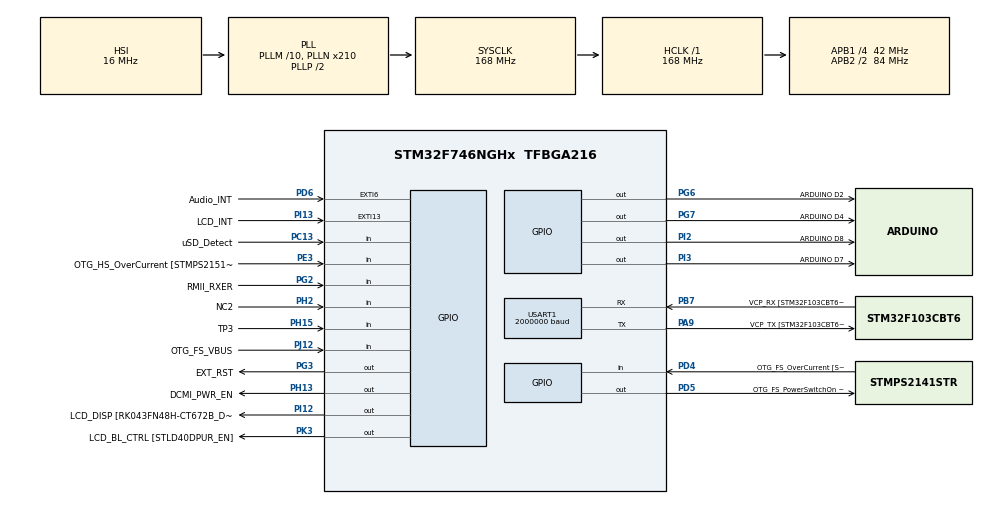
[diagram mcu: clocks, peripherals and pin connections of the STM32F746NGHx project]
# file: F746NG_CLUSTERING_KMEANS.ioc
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Mcu.Family=STM32F7
Mcu.Name=STM32F746NGHx
Mcu.Package=TFBGA216
NVIC.PriorityGroup=NVIC_PRIORITYGROUP_4
PA0/WKUP.GPIO_Label=ARDUINO A0
PA0/WKUP.GPIO_Mode=GPIO_MODE_ANALOG
PA0/WKUP.GPIO_PuPd=GPIO_NOPULL
PA0/WKUP.Signal=ADCx_IN0
PA1.GPIO_Label=RMII_REF_CLK [LAN8742A-CZ-TR_REFCLK0]
PA1.Signal=ETH_REF_CLK
PA10.GPIO_Label=OTG_FS_ID
PA10.Signal=USB_OTG_FS_ID
PA11.GPIO_Label=OTG_FS_N
PA11.Signal=USB_OTG_FS_DM
PA12.GPIO_Label=OTG_FS_P
PA12.Signal=USB_OTG_FS_DP
PA13.GPIO_Label=SWDIO
PA13.Signal=SYS_JTMS-SWDIO
PA14.GPIO_Label=SWCLK
PA14.Signal=SYS_JTCK-SWCLK
PA15.GPIO_Label=ARDUINO PWM/D9
PA15.GPIO_ModeDefaultPP=GPIO_MODE_AF_PP
PA15.GPIO_PuPd=GPIO_NOPULL
PA15.GPIO_Speed=GPIO_SPEED_FREQ_LOW
PA15.Signal=S_TIM2_CH1_ETR
PA2.GPIO_Label=RMII_MDIO [LAN8742A-CZ-TR_MDIO]
PA2.Signal=ETH_MDIO
PA3.GPIO_Label=ULPI_D0 [USB3320C-EZK_D0]
PA3.Signal=USB_OTG_HS_ULPI_D0
PA4.GPIO_Label=DCMI_HSYNC
PA4.Signal=DCMI_HSYNC
PA5.GPIO_Label=ULPI_CLK [USB3320C-EZK_CLKOUT]
PA5.Signal=USB_OTG_HS_ULPI_CK
PA6.Signal=DCMI_PIXCLK
PA7.GPIO_Label=RMII_CRS_DV [LAN8742A-CZ-TR_CRS_DV]
PA7.Signal=ETH_CRS_DV
PA8.GPIO_Label=ARDUINO PWM/D10
PA8.GPIO_ModeDefaultPP=GPIO_MODE_AF_PP
PA8.GPIO_PuPd=GPIO_NOPULL
PA8.GPIO_Speed=GPIO_SPEED_FREQ_LOW
PA8.Signal=S_TIM1_CH1
PA9.GPIO_Label=VCP_TX [STM32F103CBT6_PA3]
PA9.GPIO_Mode=GPIO_MODE_AF_PP
PA9.GPIO_PuPd=GPIO_NOPULL
PA9.GPIO_Speed=GPIO_SPEED_FREQ_LOW
PA9.Mode=Asynchronous
PA9.Signal=USART1_TX
PB0.GPIO_Label=ULPI_D1 [USB3320C-EZK_D1]
PB0.Signal=USB_OTG_HS_ULPI_D1
PB1.GPIO_Label=ULPI_D2 [USB3320C-EZK_D2]
PB1.Signal=USB_OTG_HS_ULPI_D2
PB10.GPIO_Label=ULPI_D3 [USB3320C-EZK_D3]
PB10.Signal=USB_OTG_HS_ULPI_D3
PB11.GPIO_Label=ULPI_D4 [USB3320C-EZK_D4]
PB11.Signal=USB_OTG_HS_ULPI_D4
PB12.GPIO_Label=ULPI_D5 [USB3320C-EZK_D5]
PB12.Signal=USB_OTG_HS_ULPI_D5
PB13.GPIO_Label=ULPI_D6 [USB3320C-EZK_D6]
PB13.Signal=USB_OTG_HS_ULPI_D6
PB14.GPIO_Label=ARDUINO MISO/D12
PB14.GPIO_Mode=GPIO_MODE_AF_PP
PB14.GPIO_PuPd=GPIO_NOPULL
PB14.GPIO_Speed=GPIO_SPEED_FREQ_LOW
PB14.Signal=SPI2_MISO
PB15.GPIO_Label=ARDUINO MOSI/PWM/D11
PB15.GPIO_Mode=GPIO_MODE_AF_PP
PB15.GPIO_PuPd=GPIO_NOPULL
PB15.GPIO_Speed=GPIO_SPEED_FREQ_LOW
PB15.Signal=SPI2_MOSI
PB2.Signal=QUADSPI_CLK
PB3.GPIO_Label=SWO
PB3.Signal=SYS_JTDO-SWO
PB4.GPIO_Label=ARDUINO PWM/D3
PB4.GPIO_ModeDefaultPP=GPIO_MODE_AF_PP
PB4.GPIO_PuPd=GPIO_NOPULL
PB4.GPIO_Speed=GPIO_SPEED_FREQ_LOW
PB4.Signal=S_TIM3_CH1
PB5.GPIO_Label=ULPI_D7 [USB3320C-EZK_D7]
PB5.Signal=USB_OTG_HS_ULPI_D7
PB6.GPIO_Label=QSPI_NCS [N25Q128A13EF840E_S]
PB6.Signal=QUADSPI_BK1_NCS
PB7.GPIO_Label=VCP_RX [STM32F103CBT6_PA2]
PB7.GPIO_Mode=GPIO_MODE_AF_PP
PB7.GPIO_PuPd=GPIO_NOPULL
PB7.GPIO_Speed=GPIO_SPEED_FREQ_LOW
PB7.Mode=Asynchronous
PB7.Signal=USART1_RX
PB8.GPIO_Label=ARDUINO SCL/D15
PB8.GPIO_Mode=GPIO_MODE_AF_OD
PB8.GPIO_PuPd=GPIO_NOPULL
PB8.GPIO_Speed=GPIO_SPEED_FREQ_LOW
PB8.Signal=I2C1_SCL
PB9.GPIO_Label=ARDUINO SDA/D14
PB9.GPIO_Mode=GPIO_MODE_AF_OD
PB9.GPIO_PuPd=GPIO_NOPULL
PB9.GPIO_Speed=GPIO_SPEED_FREQ_LOW
PB9.Signal=I2C1_SDA
PC0.GPIO_Label=ULPI_STP [USB3320C-EZK_STP]
PC0.Signal=USB_OTG_HS_ULPI_STP
PC1.GPIO_Label=RMII_MDC [LAN8742A-CZ-TR_MDC]
PC1.Signal=ETH_MDC
PC10.GPIO_Label=SDMMC_D2
PC10.Signal=SDMMC1_D2
PC11.GPIO_Label=SDMMC_D3
PC11.Signal=SDMMC1_D3
PC12.GPIO_Label=SDMMC_CK
PC12.Signal=SDMMC1_CK
PC13.GPIO_Label=uSD_Detect
PC13.Signal=GPIO_Input
PC14/OSC32_IN.GPIO_Label=RCC_OSC32_IN
PC14/OSC32_IN.Signal=RCC_OSC32_IN
PC15/OSC32_OUT.GPIO_Label=RCC_OSC32_OUT
PC15/OSC32_OUT.Signal=RCC_OSC32_OUT
PC2.GPIO_Label=ULPI_DIR [USB3320C-EZK_DIR]
PC2.Signal=USB_OTG_HS_ULPI_DIR
PC3.GPIO_Label=FMC_SDCKE0 [MT48LC4M32B2B5-6A_CKE]
PC3.Signal=FMC_SDCKE0
PC4.GPIO_Label=RMII_RXD0 [LAN8742A-CZ-TR_RXD0]
PC4.Signal=ETH_RXD0
PC5.GPIO_Label=RMII_RXD1 [LAN8742A-CZ-TR_RXD1]
PC5.Signal=ETH_RXD1
PC6.GPIO_Label=ARDUINO TX/D1
PC6.Signal=USART6_TX
PC7.GPIO_Label=ARDUINO RX/D0
PC7.Signal=USART6_RX
PC8.Signal=SDMMC1_D0
PC9.Signal=SDMMC1_D1
PD0.GPIO_Label=FMC_D2 [MT48LC4M32B2B5-6A_DQ2]
PD0.Signal=FMC_D2_DA2
PD1.GPIO_Label=FMC_D3 [MT48LC4M32B2B5-6A_DQ3]
PD1.Signal=FMC_D3_DA3
PD10.GPIO_Label=FMC_D15 [MT48LC4M32B2B5-6A_DQ15]
PD10.Signal=FMC_D15_DA15
PD11.GPIO_Label=QSPI_D0 [N25Q128A13EF840E_DQ0]
PD11.Signal=QUADSPI_BK1_IO0
PD12.GPIO_Label=QSPI_D1 [N25Q128A13EF840E_DQ1]
PD12.Signal=QUADSPI_BK1_IO1
PD13.GPIO_Label=QSPI_D3 [N25Q128A13EF840E_DQ3]
PD13.Signal=QUADSPI_BK1_IO3
PD14.GPIO_Label=FMC_D0 [MT48LC4M32B2B5-6A_DQ0]
PD14.Signal=FMC_D0_DA0
PD15.GPIO_Label=FMC_D1 [MT48LC4M32B2B5-6A_DQ1]
PD15.Signal=FMC_D1_DA1
PD2.GPIO_Label=SDMMC_D0
PD2.Signal=SDMMC1_CMD
PD3.GPIO_Label=DCMI_D5
PD3.Signal=DCMI_D5
PD4.GPIO_Label=OTG_FS_OverCurrent [STMPS2141STR_Fault]
PD4.Signal=GPIO_Input
PD5.GPIO_Label=OTG_FS_PowerSwitchOn [STMPS2141STR_EN]
PD5.PinState=GPIO_PIN_SET
PD5.Signal=GPIO_Output
PD6.GPIO_Label=Audio_INT
PD6.GPIO_ModeDefaultEXTI=GPIO_MODE_EVT_RISING
PD6.Signal=GPXTI6
PD7.GPIO_Label=SPDIF_RX0 [74LVC1G04SE_4]
PD7.Signal=SPDIFRX_IN0
PD8.GPIO_Label=FMC_D13 [MT48LC4M32B2B5-6A_DQ13]
PD8.Signal=FMC_D13_DA13
PD9.GPIO_Label=FMC_D14 [MT48LC4M32B2B5-6A_DQ14]
PD9.Signal=FMC_D14_DA14
PE0.GPIO_Label=FMC_NBL0 [MT48LC4M32B2B5-6A_DQM0]
PE0.Signal=FMC_NBL0
PE1.GPIO_Label=FMC_NBL1 [MT48LC4M32B2B5-6A_DQM1]
PE1.Signal=FMC_NBL1
PE10.GPIO_Label=FMC_D7 [MT48LC4M32B2B5-6A_DQ7]
PE10.Signal=FMC_D7_DA7
PE11.GPIO_Label=FMC_D8 [MT48LC4M32B2B5-6A_DQ8]
PE11.Signal=FMC_D8_DA8
PE12.GPIO_Label=FMC_D9 [MT48LC4M32B2B5-6A_DQ9]
PE12.Signal=FMC_D9_DA9
PE13.GPIO_Label=FMC_D10 [MT48LC4M32B2B5-6A_DQ10]
PE13.Signal=FMC_D10_DA10
PE14.GPIO_Label=FMC_D11 [MT48LC4M32B2B5-6A_DQ11]
PE14.Signal=FMC_D11_DA11
PE15.GPIO_Label=FMC_D12 [MT48LC4M32B2B5-6A_DQ12]
PE15.Signal=FMC_D12_DA12
PE2.GPIO_Label=QSPI_D2 [N25Q128A13EF840E_DQ2]
PE2.Signal=QUADSPI_BK1_IO2
PE3.GPIO_Label=OTG_HS_OverCurrent [STMPS2151STR_FAULT]
PE3.Signal=GPIO_Input
PE4.GPIO_Label=LCD_B0 [RK043FN48H-CT672B_B0]
PE4.Signal=LTDC_B0
PE5.GPIO_Label=DCMI_D6
PE5.Signal=DCMI_D6
PE6.GPIO_Label=DCMI_D7
PE6.Signal=DCMI_D7
PE7.GPIO_Label=FMC_D4 [MT48LC4M32B2B5-6A_DQ4]
PE7.Signal=FMC_D4_DA4
PE8.GPIO_Label=FMC_D5 [MT48LC4M32B2B5-6A_DQ5]
PE8.Signal=FMC_D5_DA5
PE9.GPIO_Label=FMC_D6 [MT48LC4M32B2B5-6A_DQ6]
PE9.Signal=FMC_D6_DA6
PF0.GPIO_Label=FMC_A0 [MT48LC4M32B2B5-6A_A0]
PF0.Signal=FMC_A0
PF1.GPIO_Label=FMC_A1 [MT48LC4M32B2B5-6A_A1]
PF1.Signal=FMC_A1
PF10.GPIO_Label=ARDUINO A1
PF10.GPIO_Mode=GPIO_MODE_ANALOG
PF10.GPIO_PuPd=GPIO_NOPULL
PF10.Signal=ADC3_IN8
PF11.GPIO_Label=FMC_SDNRAS [MT48LC4M32B2B5-6A_RAS]
PF11.Signal=FMC_SDNRAS
PF12.GPIO_Label=FMC_A6 [MT48LC4M32B2B5-6A_A6]
PF12.Signal=FMC_A6
PF13.GPIO_Label=FMC_A7 [MT48LC4M32B2B5-6A_A7]
PF13.Signal=FMC_A7
PF14.GPIO_Label=FMC_A8 [MT48LC4M32B2B5-6A_A8]
PF14.Signal=FMC_A8
PF15.GPIO_Label=FMC_A9 [MT48LC4M32B2B5-6A_A9]
PF15.Signal=FMC_A9
PF2.GPIO_Label=FMC_A2 [MT48LC4M32B2B5-6A_A2]
PF2.Signal=FMC_A2
PF3.GPIO_Label=FMC_A3 [MT48LC4M32B2B5-6A_A3]
PF3.Signal=FMC_A3
PF4.GPIO_Label=FMC_A4 [MT48LC4M32B2B5-6A_A4]
PF4.Signal=FMC_A4
PF5.GPIO_Label=FMC_A5 [MT48LC4M32B2B5-6A_A5]
PF5.Signal=FMC_A5
PF6.GPIO_Label=ARDUINO A5
PF6.GPIO_Mode=GPIO_MODE_ANALOG
PF6.GPIO_PuPd=GPIO_NOPULL
PF6.Signal=ADC3_IN4
PF7.GPIO_Label=ARDUINO A4
PF7.GPIO_Mode=GPIO_MODE_ANALOG
PF7.GPIO_PuPd=GPIO_NOPULL
PF7.Signal=ADC3_IN5
PF8.GPIO_Label=ARDUINO A3
PF8.GPIO_Mode=GPIO_MODE_ANALOG
PF8.GPIO_PuPd=GPIO_NOPULL
PF8.Signal=ADC3_IN6
PF9.GPIO_Label=ARDUINO A2
PF9.GPIO_Mode=GPIO_MODE_ANALOG
PF9.GPIO_PuPd=GPIO_NOPULL
PF9.Signal=ADC3_IN7
PG0.GPIO_Label=FMC_A10 [MT48LC4M32B2B5-6A_A10]
PG0.Signal=FMC_A10
PG1.GPIO_Label=FMC_A11 [MT48LC4M32B2B5-6A_A11]
PG1.Signal=FMC_A11
PG10.GPIO_Label=SAI2_SDB [WM8994ECS/R_ADCDAT1]
PG10.Signal=SAI2_SD_B
PG11.GPIO_Label=RMII_TX_EN [LAN8742A-CZ-TR_TXEN]
PG11.Signal=ETH_TX_EN
PG12.GPIO_Label=LCD_B4 [RK043FN48H-CT672B_B4]
PG12.Signal=LTDC_B4
PG13.GPIO_Label=RMII_TXD0 [LAN8742A-CZ-TR_TXD0]
PG13.Signal=ETH_TXD0
PG14.GPIO_Label=RMII_TXD1 [LAN8742A-CZ-TR_TXD1]
PG14.Signal=ETH_TXD1
PG15.GPIO_Label=FMC_SDNCAS [MT48LC4M32B2B5-6A_CAS]
PG15.Signal=FMC_SDNCAS
PG2.GPIO_Label=RMII_RXER
PG2.Signal=GPIO_Input
PG3.GPIO_Label=EXT_RST
PG3.Signal=GPIO_Output
PG4.GPIO_Label=FMC_BA0 [MT48LC4M32B2B5-6A_BA0]
PG4.Signal=FMC_A14_BA0
PG5.GPIO_Label=FMC_BA1 [MT48LC4M32B2B5-6A_BA1]
PG5.Signal=FMC_A15_BA1
PG6.GPIO_Label=ARDUINO D2
PG6.Signal=GPIO_Output
PG7.GPIO_Label=ARDUINO D4
PG7.Signal=GPIO_Output
PG8.GPIO_Label=FMC_SDCLK [MT48LC4M32B2B5-6A_CLK]
PG8.Signal=FMC_SDCLK
PG9.GPIO_Label=DCMI_VSYNC
PG9.Signal=DCMI_VSYNC
PH0/OSC_IN.GPIO_Label=OSC_25M [NZ2520SB-25.00M_OUT]
PH0/OSC_IN.Signal=RCC_OSC_IN
PH1/OSC_OUT.Signal=RCC_OSC_OUT
PH10.GPIO_Label=DCMI_D1
PH10.Signal=DCMI_D1
PH11.GPIO_Label=DCMI_D2
PH11.Signal=DCMI_D2
PH12.GPIO_Label=DCMI_D3
PH12.Signal=DCMI_D3
PH13.GPIO_Label=DCMI_PWR_EN
PH13.Signal=GPIO_Output
PH14.GPIO_Label=DCMI_D4
PH14.Signal=DCMI_D4
PH15.GPIO_Label=TP3
PH15.Signal=GPIO_Input
PH2.GPIO_Label=NC2
PH2.Signal=GPIO_Input
PH3.GPIO_Label=FMC_SDNE0 [MT48LC4M32B2B5-6A_CS]
PH3.Signal=FMC_SDNE0
PH4.GPIO_Label=ULPI_NXT [USB3320C-EZK_NXT]
PH4.Signal=USB_OTG_HS_ULPI_NXT
PH5.GPIO_Label=FMC_SDNME [MT48LC4M32B2B5-6A_WE]
PH5.Signal=FMC_SDNWE
PH6.GPIO_Label=ARDUINO PWM/D6
PH6.Signal=S_TIM12_CH1
PH7.GPIO_Label=LCD_SCL [RK043FN48H-CT672B_SCL]
PH7.Signal=I2C3_SCL
PH8.GPIO_Label=LCD_SDA [RK043FN48H-CT672B_SDA]
PH8.Signal=I2C3_SDA
PH9.GPIO_Label=DCMI_D0
PH9.Signal=DCMI_D0
PI0.GPIO_Label=ARDUINO PWM/CS/D5
PI0.GPIO_ModeDefaultPP=GPIO_MODE_AF_PP
PI0.GPIO_PuPd=GPIO_NOPULL
PI0.GPIO_Speed=GPIO_SPEED_FREQ_LOW
PI0.Signal=S_TIM5_CH4
PI1.GPIO_Label=ARDUINO SCK/D13
PI1.GPIO_Mode=GPIO_MODE_AF_PP
PI1.GPIO_PuPd=GPIO_NOPULL
PI1.GPIO_Speed=GPIO_SPEED_FREQ_LOW
PI1.Signal=SPI2_SCK
PI10.GPIO_Label=LCD_HSYNC [RK043FN48H-CT672B_HSYNC]
PI10.Signal=LTDC_HSYNC
PI12.GPIO_Label=LCD_DISP [RK043FN48H-CT672B_DISP] 
PI12.Signal=GPIO_Output
PI13.GPIO_Label=LCD_INT
PI13.GPIO_ModeDefaultEXTI=GPIO_MODE_EVT_RISING
PI13.Signal=GPXTI13
PI14.GPIO_Label=LCD_CLK [RK043FN48H-CT672B_CLK]
PI14.Signal=LTDC_CLK
PI15.GPIO_Label=LCD_R0 [RK043FN48H-CT672B_R0]
PI15.Signal=LTDC_R0
PI2.GPIO_Label=ARDUINO D8
PI2.Signal=GPIO_Output
PI3.GPIO_Label=ARDUINO D7
PI3.Signal=GPIO_Output
PI4.GPIO_Label=SAI2_MCLKA [WM8994ECS/R_MCLK1]
PI4.Signal=SAI2_MCLK_A
PI5.GPIO_Label=SAI2_SCKA [WM8994ECS/R_BCLK1]
PI5.Signal=SAI2_SCK_A
PI6.GPIO_Label=SAI2_SDA [WM8994ECS/R_DACDAT1]
PI6.Signal=SAI2_SD_A
PI7.GPIO_Label=SAI2_FSA [WM8994ECS/R_LRCLK1]
PI7.Signal=SAI2_FS_A
PI8.GPIO_Label=NC1 [TP2]
PI8.Signal=RTC_TS
PI9.GPIO_Label=LCD_VSYNC [RK043FN48H-CT672B_VSYNC]
PI9.Signal=LTDC_VSYNC
PJ0.GPIO_Label=LCD_R1 [RK043FN48H-CT672B_R1]
PJ0.Signal=LTDC_R1
PJ1.GPIO_Label=LCD_R2 [RK043FN48H-CT672B_R2]
PJ1.Signal=LTDC_R2
PJ10.GPIO_Label=LCD_G3 [RK043FN48H-CT672B_G3]
PJ10.Signal=LTDC_G3
PJ11.GPIO_Label=LCD_G4 [RK043FN48H-CT672B_G4]
PJ11.Signal=LTDC_G4
PJ12.GPIO_Label=OTG_FS_VBUS
PJ12.Signal=GPIO_Input
PJ13.GPIO_Label=LCD_B1 [RK043FN48H-CT672B_B1]
PJ13.Signal=LTDC_B1
PJ14.GPIO_Label=LCD_B2 [RK043FN48H-CT672B_B2]
PJ14.Signal=LTDC_B2
PJ15.GPIO_Label=LCD_B3 [RK043FN48H-CT672B_B3]
PJ15.Signal=LTDC_B3
PJ2.GPIO_Label=LCD_R3 [RK043FN48H-CT672B_R3]
PJ2.Signal=LTDC_R3
PJ3.GPIO_Label=LCD_R4 [RK043FN48H-CT672B_R4]
PJ3.Signal=LTDC_R4
PJ4.GPIO_Label=LCD_R5 [RK043FN48H-CT672B_R5]
PJ4.Signal=LTDC_R5
PJ5.GPIO_Label=LCD_R6 [RK043FN48H-CT672B_R6]
PJ5.Signal=LTDC_R6
PJ6.GPIO_Label=LCD_R7 [RK043FN48H-CT672B_R7]
PJ6.Signal=LTDC_R7
PJ7.GPIO_Label=LCD_G0 [RK043FN48H-CT672B_G0]
PJ7.Signal=LTDC_G0
PJ8.GPIO_Label=LCD_G1 [RK043FN48H-CT672B_G1]
PJ8.Signal=LTDC_G1
PJ9.GPIO_Label=LCD_G2 [RK043FN48H-CT672B_G2]
PJ9.Signal=LTDC_G2
PK0.GPIO_Label=LCD_G5 [RK043FN48H-CT672B_G5]
PK0.Signal=LTDC_G5
PK1.GPIO_Label=LCD_G6 [RK043FN48H-CT672B_G6]
PK1.Signal=LTDC_G6
PK2.GPIO_Label=LCD_G7 [RK043FN48H-CT672B_G7]
PK2.Signal=LTDC_G7
PK3.GPIO_Label=LCD_BL_CTRL [STLD40DPUR_EN]
PK3.Signal=GPIO_Output
PK4.GPIO_Label=LCD_B5 [RK043FN48H-CT672B_B5]
PK4.Signal=LTDC_B5
PK5.GPIO_Label=LCD_B6 [RK043FN48H-CT672B_B6]
PK5.Signal=LTDC_B6
PK6.GPIO_Label=LCD_B7 [RK043FN48H-CT672B_B7]
PK6.Signal=LTDC_B7
PK7.GPIO_Label=LCD_DE [RK043FN48H-CT672B_DE]
PK7.Signal=LTDC_DE
ProjectManager.HeapSize=0x200
ProjectManager.StackSize=0x400
ProjectManager.TargetToolchain=STM32CubeIDE
RCC.AHBFreq_Value=168000000
RCC.APB1CLKDivider=RCC_HCLK_DIV4
RCC.APB1Freq_Value=42000000
RCC.APB1TimFreq_Value=84000000
RCC.APB2CLKDivider=RCC_HCLK_DIV2
RCC.APB2Freq_Value=84000000
RCC.APB2TimFreq_Value=168000000
RCC.CortexFreq_Value=168000000
RCC.HCLKFreq_Value=168000000
RCC.HSE_VALUE=25000000
RCC.HSI_VALUE=16000000
RCC.LSE_VALUE=32768
RCC.PLLM=10
RCC.PLLN=210
RCC.PLLQ=8
RCC.PLLSourceVirtual=RCC_PLLSOURCE_HSI
RCC.PWR_Regulator_Voltage_Scale=PWR_REGULATOR_VOLTAGE_SCALE2
RCC.SYSCLKFreq_VALUE=168000000
RCC.SYSCLKSource=RCC_SYSCLKSOURCE_PLLCLK
RCC.USBFreq_Value=42000000
RCC.VCOOutputFreq_Value=336000000
RCC.VDD_VALUE=3.3
SH.ADCx_IN0.0=ADC3_IN0
SH.FMC_A0.0=FMC_A0
SH.FMC_A1.0=FMC_A1
SH.FMC_A10.0=FMC_A10
SH.FMC_A11.0=FMC_A11
SH.FMC_A14_BA0.0=FMC_BA0
SH.FMC_A15_BA1.0=FMC_BA1
SH.FMC_A2.0=FMC_A2
SH.FMC_A3.0=FMC_A3
SH.FMC_A4.0=FMC_A4
SH.FMC_A5.0=FMC_A5
SH.FMC_A6.0=FMC_A6
SH.FMC_A7.0=FMC_A7
SH.FMC_A8.0=FMC_A8
SH.FMC_A9.0=FMC_A9
SH.FMC_D0_DA0.0=FMC_D0
SH.FMC_D10_DA10.0=FMC_D10
SH.FMC_D11_DA11.0=FMC_D11
SH.FMC_D12_DA12.0=FMC_D12
SH.FMC_D13_DA13.0=FMC_D13
SH.FMC_D14_DA14.0=FMC_D14
SH.FMC_D15_DA15.0=FMC_D15
SH.FMC_D1_DA1.0=FMC_D1
SH.FMC_D2_DA2.0=FMC_D2
SH.FMC_D3_DA3.0=FMC_D3
SH.FMC_D4_DA4.0=FMC_D4
SH.FMC_D5_DA5.0=FMC_D5
SH.FMC_D6_DA6.0=FMC_D6
SH.FMC_D7_DA7.0=FMC_D7
SH.FMC_D8_DA8.0=FMC_D8
SH.FMC_D9_DA9.0=FMC_D9
SH.FMC_NBL0.0=FMC_NBL0
SH.FMC_NBL1.0=FMC_NBL1
SH.FMC_SDCLK.0=FMC_SDCLK
SH.FMC_SDNCAS.0=FMC_SDNCAS
SH.FMC_SDNRAS.0=FMC_SDNRAS
SH.FMC_SDNWE.0=FMC_SDNWE
SH.S_TIM12_CH1.0=TIM12_CH1
SH.S_TIM1_CH1.0=TIM1_CH1
SH.S_TIM2_CH1_ETR.0=TIM2_CH1
SH.S_TIM3_CH1.0=TIM3_CH1
SH.S_TIM5_CH4.0=TIM5_CH4
USART1.BaudRate=2000000
USART1.VirtualMode-Asynchronous=VM_ASYNC
VP_RNG_VS_RNG.Mode=RNG_Activate
board=STM32F746G-DISCO

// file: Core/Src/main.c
/* USER CODE BEGIN Header */
/**
  ******************************************************************************
  * @file           : main.c
  * @brief          : Main program body
  ******************************************************************************
  * @attention
  *
  * Copyright (c) 2024 STMicroelectronics.
  * All rights reserved.
  *
  * This software is licensed under terms that can be found in the LICENSE file
  * in the root directory of this software component.
  * If no LICENSE file comes with this software, it is provided AS-IS.
  *
  ******************************************************************************
  */
/* USER CODE END Header */
#include "main.h"

/* USER CODE BEGIN Includes */
#include "kmeans_clus_inference.h"
#include "lib_serial.h"
#include "lib_rng.h"
/* USER CODE END Includes */

RNG_HandleTypeDef hrng;

UART_HandleTypeDef huart1;

void SystemClock_Config(void);
static void MX_GPIO_Init(void);
static void MX_USART1_UART_Init(void);
static void MX_RNG_Init(void);

/* USER CODE BEGIN 0 */
#define INPUT_PC		1
#define INPUT_MCU		2
#define INPUT			INPUT_PC

#define SIZE_INPUT 		NUM_FEATURES
#define SIZE_OUTPUT 	1

float input[SIZE_INPUT];
float output[SIZE_OUTPUT];

/* USER CODE END 0 */

int main(void)
{

  /* MCU Configuration--------------------------------------------------------*/

  /* Reset of all peripherals, Initializes the Flash interface and the Systick. */
  HAL_Init();

  /* Configure the system clock */
  SystemClock_Config();

  /* Initialize all configured peripherals */
  MX_GPIO_Init();
  MX_USART1_UART_Init();
  MX_RNG_Init();

  /* Infinite loop */
  while (1)
  {

    /* USER CODE BEGIN 3 */

#if (INPUT == INPUT_PC)
	  LIB_SERIAL_Receive(input, SIZE_INPUT, TYPE_F32);
#elif (INPUT == INPUT_MCU)
	  for (uint32_t i = 0; i < SIZE_INPUT; ++i)
		input[i] = (float)(LIB_RNG_GetRandomNumber() % 1000) / 1000.0f;

	LIB_SERIAL_Transmit(input, SIZE_INPUT, TYPE_F32);
#endif

	kmeans_clus_predict(input, output, 0);
	LIB_SERIAL_Transmit(output, SIZE_OUTPUT, TYPE_F32);
	HAL_Delay(1000);
  }
  /* USER CODE END 3 */
}

void SystemClock_Config(void)
{
  RCC_OscInitTypeDef RCC_OscInitStruct = {0};
  RCC_ClkInitTypeDef RCC_ClkInitStruct = {0};

  /** Configure the main internal regulator output voltage
  */
  __HAL_RCC_PWR_CLK_ENABLE();
  __HAL_PWR_VOLTAGESCALING_CONFIG(PWR_REGULATOR_VOLTAGE_SCALE2);
  /** Initializes the RCC Oscillators according to the specified parameters
  * in the RCC_OscInitTypeDef structure.
  */
  RCC_OscInitStruct.OscillatorType = RCC_OSCILLATORTYPE_HSI;
  RCC_OscInitStruct.HSIState = RCC_HSI_ON;
  RCC_OscInitStruct.HSICalibrationValue = RCC_HSICALIBRATION_DEFAULT;
  RCC_OscInitStruct.PLL.PLLState = RCC_PLL_ON;
  RCC_OscInitStruct.PLL.PLLSource = RCC_PLLSOURCE_HSI;
  RCC_OscInitStruct.PLL.PLLM = 10;
  RCC_OscInitStruct.PLL.PLLN = 210;
  RCC_OscInitStruct.PLL.PLLP = RCC_PLLP_DIV2;
  RCC_OscInitStruct.PLL.PLLQ = 8;
  if (HAL_RCC_OscConfig(&RCC_OscInitStruct) != HAL_OK)
  {
    Error_Handler();
  }
  /** Initializes the CPU, AHB and APB buses clocks
  */
  RCC_ClkInitStruct.ClockType = RCC_CLOCKTYPE_HCLK|RCC_CLOCKTYPE_SYSCLK
                              |RCC_CLOCKTYPE_PCLK1|RCC_CLOCKTYPE_PCLK2;
  RCC_ClkInitStruct.SYSCLKSource = RCC_SYSCLKSOURCE_PLLCLK;
  RCC_ClkInitStruct.AHBCLKDivider = RCC_SYSCLK_DIV1;
  RCC_ClkInitStruct.APB1CLKDivider = RCC_HCLK_DIV4;
  RCC_ClkInitStruct.APB2CLKDivider = RCC_HCLK_DIV2;

  if (HAL_RCC_ClockConfig(&RCC_ClkInitStruct, FLASH_LATENCY_5) != HAL_OK)
  {
    Error_Handler();
  }
}

static void MX_RNG_Init(void)
{

  hrng.Instance = RNG;
  if (HAL_RNG_Init(&hrng) != HAL_OK)
  {
    Error_Handler();
  }

}

static void MX_USART1_UART_Init(void)
{

  huart1.Instance = USART1;
  huart1.Init.BaudRate = 2000000;
  huart1.Init.WordLength = UART_WORDLENGTH_8B;
  huart1.Init.StopBits = UART_STOPBITS_1;
  huart1.Init.Parity = UART_PARITY_NONE;
  huart1.Init.Mode = UART_MODE_TX_RX;
  huart1.Init.HwFlowCtl = UART_HWCONTROL_NONE;
  huart1.Init.OverSampling = UART_OVERSAMPLING_16;
  huart1.Init.OneBitSampling = UART_ONE_BIT_SAMPLE_DISABLE;
  huart1.AdvancedInit.AdvFeatureInit = UART_ADVFEATURE_NO_INIT;
  if (HAL_UART_Init(&huart1) != HAL_OK)
  {
    Error_Handler();
  }

}

static void MX_GPIO_Init(void)
{
  GPIO_InitTypeDef GPIO_InitStruct = {0};

  /* GPIO Ports Clock Enable */
  __HAL_RCC_GPIOE_CLK_ENABLE();
  __HAL_RCC_GPIOG_CLK_ENABLE();
  __HAL_RCC_GPIOB_CLK_ENABLE();
  __HAL_RCC_GPIOD_CLK_ENABLE();
  __HAL_RCC_GPIOC_CLK_ENABLE();
  __HAL_RCC_GPIOA_CLK_ENABLE();
  __HAL_RCC_GPIOJ_CLK_ENABLE();
  __HAL_RCC_GPIOI_CLK_ENABLE();
  __HAL_RCC_GPIOK_CLK_ENABLE();
  __HAL_RCC_GPIOF_CLK_ENABLE();
  __HAL_RCC_GPIOH_CLK_ENABLE();

  /*Configure GPIO pin Output Level */
  HAL_GPIO_WritePin(OTG_FS_PowerSwitchOn_GPIO_Port, OTG_FS_PowerSwitchOn_Pin, GPIO_PIN_SET);

  /*Configure GPIO pin Output Level */
  HAL_GPIO_WritePin(GPIOI, ARDUINO_D7_Pin|ARDUINO_D8_Pin|LCD_DISP_Pin, GPIO_PIN_RESET);

  /*Configure GPIO pin Output Level */
  HAL_GPIO_WritePin(LCD_BL_CTRL_GPIO_Port, LCD_BL_CTRL_Pin, GPIO_PIN_RESET);

  /*Configure GPIO pin Output Level */
  HAL_GPIO_WritePin(DCMI_PWR_EN_GPIO_Port, DCMI_PWR_EN_Pin, GPIO_PIN_RESET);

  /*Configure GPIO pin Output Level */
  HAL_GPIO_WritePin(GPIOG, ARDUINO_D4_Pin|ARDUINO_D2_Pin|EXT_RST_Pin, GPIO_PIN_RESET);

  /*Configure GPIO pin : LCD_B0_Pin */
  GPIO_InitStruct.Pin = LCD_B0_Pin;
  GPIO_InitStruct.Mode = GPIO_MODE_AF_PP;
  GPIO_InitStruct.Pull = GPIO_NOPULL;
  GPIO_InitStruct.Speed = GPIO_SPEED_FREQ_LOW;
  GPIO_InitStruct.Alternate = GPIO_AF14_LTDC;
  HAL_GPIO_Init(LCD_B0_GPIO_Port, &GPIO_InitStruct);

  /*Configure GPIO pin : OTG_HS_OverCurrent_Pin */
  GPIO_InitStruct.Pin = OTG_HS_OverCurrent_Pin;
  GPIO_InitStruct.Mode = GPIO_MODE_INPUT;
  GPIO_InitStruct.Pull = GPIO_NOPULL;
  HAL_GPIO_Init(OTG_HS_OverCurrent_GPIO_Port, &GPIO_InitStruct);

  /*Configure GPIO pin : QSPI_D2_Pin */
  GPIO_InitStruct.Pin = QSPI_D2_Pin;
  GPIO_InitStruct.Mode = GPIO_MODE_AF_PP;
  GPIO_InitStruct.Pull = GPIO_NOPULL;
  GPIO_InitStruct.Speed = GPIO_SPEED_FREQ_VERY_HIGH;
  GPIO_InitStruct.Alternate = GPIO_AF9_QUADSPI;
  HAL_GPIO_Init(QSPI_D2_GPIO_Port, &GPIO_InitStruct);

  /*Configure GPIO pins : RMII_TXD1_Pin RMII_TXD0_Pin RMII_TX_EN_Pin */
  GPIO_InitStruct.Pin = RMII_TXD1_Pin|RMII_TXD0_Pin|RMII_TX_EN_Pin;
  GPIO_InitStruct.Mode = GPIO_MODE_AF_PP;
  GPIO_InitStruct.Pull = GPIO_NOPULL;
  GPIO_InitStruct.Speed = GPIO_SPEED_FREQ_VERY_HIGH;
  GPIO_InitStruct.Alternate = GPIO_AF11_ETH;
  HAL_GPIO_Init(GPIOG, &GPIO_InitStruct);

  /*Configure GPIO pins : FMC_NBL1_Pin FMC_NBL0_Pin FMC_D5_Pin FMC_D6_Pin
                           FMC_D8_Pin FMC_D11_Pin FMC_D4_Pin FMC_D7_Pin
                           FMC_D9_Pin FMC_D12_Pin FMC_D10_Pin */
  GPIO_InitStruct.Pin = FMC_NBL1_Pin|FMC_NBL0_Pin|FMC_D5_Pin|FMC_D6_Pin
                          |FMC_D8_Pin|FMC_D11_Pin|FMC_D4_Pin|FMC_D7_Pin
                          |FMC_D9_Pin|FMC_D12_Pin|FMC_D10_Pin;
  GPIO_InitStruct.Mode = GPIO_MODE_AF_PP;
  GPIO_InitStruct.Pull = GPIO_NOPULL;
  GPIO_InitStruct.Speed = GPIO_SPEED_FREQ_VERY_HIGH;
  GPIO_InitStruct.Alternate = GPIO_AF12_FMC;
  HAL_GPIO_Init(GPIOE, &GPIO_InitStruct);

  /*Configure GPIO pins : ARDUINO_SCL_D15_Pin ARDUINO_SDA_D14_Pin */
  GPIO_InitStruct.Pin = ARDUINO_SCL_D15_Pin|ARDUINO_SDA_D14_Pin;
  GPIO_InitStruct.Mode = GPIO_MODE_AF_OD;
  GPIO_InitStruct.Pull = GPIO_NOPULL;
  GPIO_InitStruct.Speed = GPIO_SPEED_FREQ_LOW;
  GPIO_InitStruct.Alternate = GPIO_AF4_I2C1;
  HAL_GPIO_Init(GPIOB, &GPIO_InitStruct);

  /*Configure GPIO pins : ULPI_D7_Pin ULPI_D6_Pin ULPI_D5_Pin ULPI_D3_Pin
                           ULPI_D2_Pin ULPI_D1_Pin ULPI_D4_Pin */
  GPIO_InitStruct.Pin = ULPI_D7_Pin|ULPI_D6_Pin|ULPI_D5_Pin|ULPI_D3_Pin
                          |ULPI_D2_Pin|ULPI_D1_Pin|ULPI_D4_Pin;
  GPIO_InitStruct.Mode = GPIO_MODE_AF_PP;
  GPIO_InitStruct.Pull = GPIO_NOPULL;
  GPIO_InitStruct.Speed = GPIO_SPEED_FREQ_VERY_HIGH;
  GPIO_InitStruct.Alternate = GPIO_AF10_OTG_HS;
  HAL_GPIO_Init(GPIOB, &GPIO_InitStruct);

  /*Configure GPIO pin : ARDUINO_PWM_D3_Pin */
  GPIO_InitStruct.Pin = ARDUINO_PWM_D3_Pin;
  GPIO_InitStruct.Mode = GPIO_MODE_AF_PP;
  GPIO_InitStruct.Pull = GPIO_NOPULL;
  GPIO_InitStruct.Speed = GPIO_SPEED_FREQ_LOW;
  GPIO_InitStruct.Alternate = GPIO_AF2_TIM3;
  HAL_GPIO_Init(ARDUINO_PWM_D3_GPIO_Port, &GPIO_InitStruct);

  /*Configure GPIO pin : SPDIF_RX0_Pin */
  GPIO_InitStruct.Pin = SPDIF_RX0_Pin;
  GPIO_InitStruct.Mode = GPIO_MODE_AF_PP;
  GPIO_InitStruct.Pull = GPIO_NOPULL;
  GPIO_InitStruct.Speed = GPIO_SPEED_FREQ_LOW;
  GPIO_InitStruct.Alternate = GPIO_AF8_SPDIFRX;
  HAL_GPIO_Init(SPDIF_RX0_GPIO_Port, &GPIO_InitStruct);

  /*Configure GPIO pins : SDMMC_CK_Pin SDMMC_D3_Pin SDMMC_D2_Pin PC9
                           PC8 */
  GPIO_InitStruct.Pin = SDMMC_CK_Pin|SDMMC_D3_Pin|SDMMC_D2_Pin|GPIO_PIN_9
                          |GPIO_PIN_8;
  GPIO_InitStruct.Mode = GPIO_MODE_AF_PP;
  GPIO_InitStruct.Pull = GPIO_NOPULL;
  GPIO_InitStruct.Speed = GPIO_SPEED_FREQ_VERY_HIGH;
  GPIO_InitStruct.Alternate = GPIO_AF12_SDMMC1;
  HAL_GPIO_Init(GPIOC, &GPIO_InitStruct);

  /*Configure GPIO pin : ARDUINO_PWM_D9_Pin */
  GPIO_InitStruct.Pin = ARDUINO_PWM_D9_Pin;
  GPIO_InitStruct.Mode = GPIO_MODE_AF_PP;
  GPIO_InitStruct.Pull = GPIO_NOPULL;
  GPIO_InitStruct.Speed = GPIO_SPEED_FREQ_LOW;
  GPIO_InitStruct.Alternate = GPIO_AF1_TIM2;
  HAL_GPIO_Init(ARDUINO_PWM_D9_GPIO_Port, &GPIO_InitStruct);

  /*Configure GPIO pins : DCMI_D6_Pin DCMI_D7_Pin */
  GPIO_InitStruct.Pin = DCMI_D6_Pin|DCMI_D7_Pin;
  GPIO_InitStruct.Mode = GPIO_MODE_AF_PP;
  GPIO_InitStruct.Pull = GPIO_NOPULL;
  GPIO_InitStruct.Speed = GPIO_SPEED_FREQ_LOW;
  GPIO_InitStruct.Alternate = GPIO_AF13_DCMI;
  HAL_GPIO_Init(GPIOE, &GPIO_InitStruct);

  /*Configure GPIO pin : QSPI_NCS_Pin */
  GPIO_InitStruct.Pin = QSPI_NCS_Pin;
  GPIO_InitStruct.Mode = GPIO_MODE_AF_PP;
  GPIO_InitStruct.Pull = GPIO_NOPULL;
  GPIO_InitStruct.Speed = GPIO_SPEED_FREQ_VERY_HIGH;
  GPIO_InitStruct.Alternate = GPIO_AF10_QUADSPI;
  HAL_GPIO_Init(QSPI_NCS_GPIO_Port, &GPIO_InitStruct);

  /*Configure GPIO pins : FMC_SDNCAS_Pin FMC_SDCLK_Pin FMC_A11_Pin FMC_A10_Pin
                           FMC_BA1_Pin FMC_BA0_Pin */
  GPIO_InitStruct.Pin = FMC_SDNCAS_Pin|FMC_SDCLK_Pin|FMC_A11_Pin|FMC_A10_Pin
                          |FMC_BA1_Pin|FMC_BA0_Pin;
  GPIO_InitStruct.Mode = GPIO_MODE_AF_PP;
  GPIO_InitStruct.Pull = GPIO_NOPULL;
  GPIO_InitStruct.Speed = GPIO_SPEED_FREQ_VERY_HIGH;
  GPIO_InitStruct.Alternate = GPIO_AF12_FMC;
  HAL_GPIO_Init(GPIOG, &GPIO_InitStruct);

  /*Configure GPIO pins : LCD_B1_Pin LCD_B2_Pin LCD_B3_Pin LCD_G4_Pin
                           LCD_G1_Pin LCD_G3_Pin LCD_G0_Pin LCD_G2_Pin
                           LCD_R7_Pin LCD_R5_Pin LCD_R6_Pin LCD_R4_Pin
                           LCD_R3_Pin LCD_R1_Pin LCD_R2_Pin */
  GPIO_InitStruct.Pin = LCD_B1_Pin|LCD_B2_Pin|LCD_B3_Pin|LCD_G4_Pin
                          |LCD_G1_Pin|LCD_G3_Pin|LCD_G0_Pin|LCD_G2_Pin
                          |LCD_R7_Pin|LCD_R5_Pin|LCD_R6_Pin|LCD_R4_Pin
                          |LCD_R3_Pin|LCD_R1_Pin|LCD_R2_Pin;
  GPIO_InitStruct.Mode = GPIO_MODE_AF_PP;
  GPIO_InitStruct.Pull = GPIO_NOPULL;
  GPIO_InitStruct.Speed = GPIO_SPEED_FREQ_LOW;
  GPIO_InitStruct.Alternate = GPIO_AF14_LTDC;
  HAL_GPIO_Init(GPIOJ, &GPIO_InitStruct);

  /*Configure GPIO pin : OTG_FS_VBUS_Pin */
  GPIO_InitStruct.Pin = OTG_FS_VBUS_Pin;
  GPIO_InitStruct.Mode = GPIO_MODE_INPUT;
  GPIO_InitStruct.Pull = GPIO_NOPULL;
  HAL_GPIO_Init(OTG_FS_VBUS_GPIO_Port, &GPIO_InitStruct);

  /*Configure GPIO pin : Audio_INT_Pin */
  GPIO_InitStruct.Pin = Audio_INT_Pin;
  GPIO_InitStruct.Mode = GPIO_MODE_EVT_RISING;
  GPIO_InitStruct.Pull = GPIO_NOPULL;
  HAL_GPIO_Init(Audio_INT_GPIO_Port, &GPIO_InitStruct);

  /*Configure GPIO pins : FMC_D2_Pin FMC_D3_Pin FMC_D1_Pin FMC_D15_Pin
                           FMC_D0_Pin FMC_D14_Pin FMC_D13_Pin */
  GPIO_InitStruct.Pin = FMC_D2_Pin|FMC_D3_Pin|FMC_D1_Pin|FMC_D15_Pin
                          |FMC_D0_Pin|FMC_D14_Pin|FMC_D13_Pin;
  GPIO_InitStruct.Mode = GPIO_MODE_AF_PP;
  GPIO_InitStruct.Pull = GPIO_NOPULL;
  GPIO_InitStruct.Speed = GPIO_SPEED_FREQ_VERY_HIGH;
  GPIO_InitStruct.Alternate = GPIO_AF12_FMC;
  HAL_GPIO_Init(GPIOD, &GPIO_InitStruct);

  /*Configure GPIO pins : OTG_FS_P_Pin OTG_FS_N_Pin OTG_FS_ID_Pin */
  GPIO_InitStruct.Pin = OTG_FS_P_Pin|OTG_FS_N_Pin|OTG_FS_ID_Pin;
  GPIO_InitStruct.Mode = GPIO_MODE_AF_PP;
  GPIO_InitStruct.Pull = GPIO_NOPULL;
  GPIO_InitStruct.Speed = GPIO_SPEED_FREQ_VERY_HIGH;
  GPIO_InitStruct.Alternate = GPIO_AF10_OTG_FS;
  HAL_GPIO_Init(GPIOA, &GPIO_InitStruct);

  /*Configure GPIO pins : SAI2_MCLKA_Pin SAI2_SCKA_Pin SAI2_FSA_Pin SAI2_SDA_Pin */
  GPIO_InitStruct.Pin = SAI2_MCLKA_Pin|SAI2_SCKA_Pin|SAI2_FSA_Pin|SAI2_SDA_Pin;
  GPIO_InitStruct.Mode = GPIO_MODE_AF_PP;
  GPIO_InitStruct.Pull = GPIO_NOPULL;
  GPIO_InitStruct.Speed = GPIO_SPEED_FREQ_LOW;
  GPIO_InitStruct.Alternate = GPIO_AF10_SAI2;
  HAL_GPIO_Init(GPIOI, &GPIO_InitStruct);

  /*Configure GPIO pins : LCD_DE_Pin LCD_B7_Pin LCD_B6_Pin LCD_B5_Pin
                           LCD_G6_Pin LCD_G7_Pin LCD_G5_Pin */
  GPIO_InitStruct.Pin = LCD_DE_Pin|LCD_B7_Pin|LCD_B6_Pin|LCD_B5_Pin
                          |LCD_G6_Pin|LCD_G7_Pin|LCD_G5_Pin;
  GPIO_InitStruct.Mode = GPIO_MODE_AF_PP;
  GPIO_InitStruct.Pull = GPIO_NOPULL;
  GPIO_InitStruct.Speed = GPIO_SPEED_FREQ_LOW;
  GPIO_InitStruct.Alternate = GPIO_AF14_LTDC;
  HAL_GPIO_Init(GPIOK, &GPIO_InitStruct);

  /*Configure GPIO pin : LCD_B4_Pin */
  GPIO_InitStruct.Pin = LCD_B4_Pin;
  GPIO_InitStruct.Mode = GPIO_MODE_AF_PP;
  GPIO_InitStruct.Pull = GPIO_NOPULL;
  GPIO_InitStruct.Speed = GPIO_SPEED_FREQ_LOW;
  GPIO_InitStruct.Alternate = GPIO_AF9_LTDC;
  HAL_GPIO_Init(LCD_B4_GPIO_Port, &GPIO_InitStruct);

  /*Configure GPIO pin : SAI2_SDB_Pin */
  GPIO_InitStruct.Pin = SAI2_SDB_Pin;
  GPIO_InitStruct.Mode = GPIO_MODE_AF_PP;
  GPIO_InitStruct.Pull = GPIO_NOPULL;
  GPIO_InitStruct.Speed = GPIO_SPEED_FREQ_LOW;
  GPIO_InitStruct.Alternate = GPIO_AF10_SAI2;
  HAL_GPIO_Init(SAI2_SDB_GPIO_Port, &GPIO_InitStruct);

  /*Configure GPIO pin : OTG_FS_PowerSwitchOn_Pin */
  GPIO_InitStruct.Pin = OTG_FS_PowerSwitchOn_Pin;
  GPIO_InitStruct.Mode = GPIO_MODE_OUTPUT_PP;
  GPIO_InitStruct.Pull = GPIO_NOPULL;
  GPIO_InitStruct.Speed = GPIO_SPEED_FREQ_LOW;
  HAL_GPIO_Init(OTG_FS_PowerSwitchOn_GPIO_Port, &GPIO_InitStruct);

  /*Configure GPIO pin : DCMI_D5_Pin */
  GPIO_InitStruct.Pin = DCMI_D5_Pin;
  GPIO_InitStruct.Mode = GPIO_MODE_AF_PP;
  GPIO_InitStruct.Pull = GPIO_NOPULL;
  GPIO_InitStruct.Speed = GPIO_SPEED_FREQ_LOW;
  GPIO_InitStruct.Alternate = GPIO_AF13_DCMI;
  HAL_GPIO_Init(DCMI_D5_GPIO_Port, &GPIO_InitStruct);

  /*Configure GPIO pins : ARDUINO_D7_Pin ARDUINO_D8_Pin LCD_DISP_Pin */
  GPIO_InitStruct.Pin = ARDUINO_D7_Pin|ARDUINO_D8_Pin|LCD_DISP_Pin;
  GPIO_InitStruct.Mode = GPIO_MODE_OUTPUT_PP;
  GPIO_InitStruct.Pull = GPIO_NOPULL;
  GPIO_InitStruct.Speed = GPIO_SPEED_FREQ_LOW;
  HAL_GPIO_Init(GPIOI, &GPIO_InitStruct);

  /*Configure GPIO pin : uSD_Detect_Pin */
  GPIO_InitStruct.Pin = uSD_Detect_Pin;
  GPIO_InitStruct.Mode = GPIO_MODE_INPUT;
  GPIO_InitStruct.Pull = GPIO_NOPULL;
  HAL_GPIO_Init(uSD_Detect_GPIO_Port, &GPIO_InitStruct);

  /*Configure GPIO pins : FMC_A0_Pin FMC_A1_Pin FMC_A2_Pin FMC_A3_Pin
                           FMC_A4_Pin FMC_A5_Pin FMC_A6_Pin FMC_A9_Pin
                           FMC_A7_Pin FMC_A8_Pin FMC_SDNRAS_Pin */
  GPIO_InitStruct.Pin = FMC_A0_Pin|FMC_A1_Pin|FMC_A2_Pin|FMC_A3_Pin
                          |FMC_A4_Pin|FMC_A5_Pin|FMC_A6_Pin|FMC_A9_Pin
                          |FMC_A7_Pin|FMC_A8_Pin|FMC_SDNRAS_Pin;
  GPIO_InitStruct.Mode = GPIO_MODE_AF_PP;
  GPIO_InitStruct.Pull = GPIO_NOPULL;
  GPIO_InitStruct.Speed = GPIO_SPEED_FREQ_VERY_HIGH;
  GPIO_InitStruct.Alternate = GPIO_AF12_FMC;
  HAL_GPIO_Init(GPIOF, &GPIO_InitStruct);

  /*Configure GPIO pins : LCD_HSYNC_Pin LCD_VSYNC_Pin LCD_R0_Pin LCD_CLK_Pin */
  GPIO_InitStruct.Pin = LCD_HSYNC_Pin|LCD_VSYNC_Pin|LCD_R0_Pin|LCD_CLK_Pin;
  GPIO_InitStruct.Mode = GPIO_MODE_AF_PP;
  GPIO_InitStruct.Pull = GPIO_NOPULL;
  GPIO_InitStruct.Speed = GPIO_SPEED_FREQ_LOW;
  GPIO_InitStruct.Alternate = GPIO_AF14_LTDC;
  HAL_GPIO_Init(GPIOI, &GPIO_InitStruct);

  /*Configure GPIO pin : LCD_BL_CTRL_Pin */
  GPIO_InitStruct.Pin = LCD_BL_CTRL_Pin;
  GPIO_InitStruct.Mode = GPIO_MODE_OUTPUT_PP;
  GPIO_InitStruct.Pull = GPIO_NOPULL;
  GPIO_InitStruct.Speed = GPIO_SPEED_FREQ_LOW;
  HAL_GPIO_Init(LCD_BL_CTRL_GPIO_Port, &GPIO_InitStruct);

  /*Configure GPIO pin : DCMI_VSYNC_Pin */
  GPIO_InitStruct.Pin = DCMI_VSYNC_Pin;
  GPIO_InitStruct.Mode = GPIO_MODE_AF_PP;
  GPIO_InitStruct.Pull = GPIO_NOPULL;
  GPIO_InitStruct.Speed = GPIO_SPEED_FREQ_LOW;
  GPIO_InitStruct.Alternate = GPIO_AF13_DCMI;
  HAL_GPIO_Init(DCMI_VSYNC_GPIO_Port, &GPIO_InitStruct);

  /*Configure GPIO pin : OTG_FS_OverCurrent_Pin */
  GPIO_InitStruct.Pin = OTG_FS_OverCurrent_Pin;
  GPIO_InitStruct.Mode = GPIO_MODE_INPUT;
  GPIO_InitStruct.Pull = GPIO_NOPULL;
  HAL_GPIO_Init(OTG_FS_OverCurrent_GPIO_Port, &GPIO_InitStruct);

  /*Configure GPIO pin : SDMMC_D0_Pin */
  GPIO_InitStruct.Pin = SDMMC_D0_Pin;
  GPIO_InitStruct.Mode = GPIO_MODE_AF_PP;
  GPIO_InitStruct.Pull = GPIO_NOPULL;
  GPIO_InitStruct.Speed = GPIO_SPEED_FREQ_VERY_HIGH;
  GPIO_InitStruct.Alternate = GPIO_AF12_SDMMC1;
  HAL_GPIO_Init(SDMMC_D0_GPIO_Port, &GPIO_InitStruct);

  /*Configure GPIO pins : TP3_Pin NC2_Pin */
  GPIO_InitStruct.Pin = TP3_Pin|NC2_Pin;
  GPIO_InitStruct.Mode = GPIO_MODE_INPUT;
  GPIO_InitStruct.Pull = GPIO_NOPULL;
  HAL_GPIO_Init(GPIOH, &GPIO_InitStruct);

  /*Configure GPIO pin : ARDUINO_SCK_D13_Pin */
  GPIO_InitStruct.Pin = ARDUINO_SCK_D13_Pin;
  GPIO_InitStruct.Mode = GPIO_MODE_AF_PP;
  GPIO_InitStruct.Pull = GPIO_NOPULL;
  GPIO_InitStruct.Speed = GPIO_SPEED_FREQ_LOW;
  GPIO_InitStruct.Alternate = GPIO_AF5_SPI2;
  HAL_GPIO_Init(ARDUINO_SCK_D13_GPIO_Port, &GPIO_InitStruct);

  /*Configure GPIO pin : DCMI_PWR_EN_Pin */
  GPIO_InitStruct.Pin = DCMI_PWR_EN_Pin;
  GPIO_InitStruct.Mode = GPIO_MODE_OUTPUT_PP;
  GPIO_InitStruct.Pull = GPIO_NOPULL;
  GPIO_InitStruct.Speed = GPIO_SPEED_FREQ_LOW;
  HAL_GPIO_Init(DCMI_PWR_EN_GPIO_Port, &GPIO_InitStruct);

  /*Configure GPIO pins : DCMI_D4_Pin DCMI_D3_Pin DCMI_D0_Pin DCMI_D2_Pin
                           DCMI_D1_Pin */
  GPIO_InitStruct.Pin = DCMI_D4_Pin|DCMI_D3_Pin|DCMI_D0_Pin|DCMI_D2_Pin
                          |DCMI_D1_Pin;
  GPIO_InitStruct.Mode = GPIO_MODE_AF_PP;
  GPIO_InitStruct.Pull = GPIO_NOPULL;
  GPIO_InitStruct.Speed = GPIO_SPEED_FREQ_LOW;
  GPIO_InitStruct.Alternate = GPIO_AF13_DCMI;
  HAL_GPIO_Init(GPIOH, &GPIO_InitStruct);

  /*Configure GPIO pin : ARDUINO_PWM_CS_D5_Pin */
  GPIO_InitStruct.Pin = ARDUINO_PWM_CS_D5_Pin;
  GPIO_InitStruct.Mode = GPIO_MODE_AF_PP;
  GPIO_InitStruct.Pull = GPIO_NOPULL;
  GPIO_InitStruct.Speed = GPIO_SPEED_FREQ_LOW;
  GPIO_InitStruct.Alternate = GPIO_AF2_TIM5;
  HAL_GPIO_Init(ARDUINO_PWM_CS_D5_GPIO_Port, &GPIO_InitStruct);

  /*Configure GPIO pin : ARDUINO_PWM_D10_Pin */
  GPIO_InitStruct.Pin = ARDUINO_PWM_D10_Pin;
  GPIO_InitStruct.Mode = GPIO_MODE_AF_PP;
  GPIO_InitStruct.Pull = GPIO_NOPULL;
  GPIO_InitStruct.Speed = GPIO_SPEED_FREQ_LOW;
  GPIO_InitStruct.Alternate = GPIO_AF1_TIM1;
  HAL_GPIO_Init(ARDUINO_PWM_D10_GPIO_Port, &GPIO_InitStruct);

  /*Configure GPIO pin : LCD_INT_Pin */
  GPIO_InitStruct.Pin = LCD_INT_Pin;
  GPIO_InitStruct.Mode = GPIO_MODE_EVT_RISING;
  GPIO_InitStruct.Pull = GPIO_NOPULL;
  HAL_GPIO_Init(LCD_INT_GPIO_Port, &GPIO_InitStruct);

  /*Configure GPIO pins : ARDUINO_RX_D0_Pin ARDUINO_TX_D1_Pin */
  GPIO_InitStruct.Pin = ARDUINO_RX_D0_Pin|ARDUINO_TX_D1_Pin;
  GPIO_InitStruct.Mode = GPIO_MODE_AF_PP;
  GPIO_InitStruct.Pull = GPIO_NOPULL;
  GPIO_InitStruct.Speed = GPIO_SPEED_FREQ_VERY_HIGH;
  GPIO_InitStruct.Alternate = GPIO_AF8_USART6;
  HAL_GPIO_Init(GPIOC, &GPIO_InitStruct);

  /*Configure GPIO pin : ULPI_NXT_Pin */
  GPIO_InitStruct.Pin = ULPI_NXT_Pin;
  GPIO_InitStruct.Mode = GPIO_MODE_AF_PP;
  GPIO_InitStruct.Pull = GPIO_NOPULL;
  GPIO_InitStruct.Speed = GPIO_SPEED_FREQ_VERY_HIGH;
  GPIO_InitStruct.Alternate = GPIO_AF10_OTG_HS;
  HAL_GPIO_Init(ULPI_NXT_GPIO_Port, &GPIO_InitStruct);

  /*Configure GPIO pins : FMC_SDNME_Pin FMC_SDNE0_Pin */
  GPIO_InitStruct.Pin = FMC_SDNME_Pin|FMC_SDNE0_Pin;
  GPIO_InitStruct.Mode = GPIO_MODE_AF_PP;
  GPIO_InitStruct.Pull = GPIO_NOPULL;
  GPIO_InitStruct.Speed = GPIO_SPEED_FREQ_VERY_HIGH;
  GPIO_InitStruct.Alternate = GPIO_AF12_FMC;
  HAL_GPIO_Init(GPIOH, &GPIO_InitStruct);

  /*Configure GPIO pins : ARDUINO_D4_Pin ARDUINO_D2_Pin EXT_RST_Pin */
  GPIO_InitStruct.Pin = ARDUINO_D4_Pin|ARDUINO_D2_Pin|EXT_RST_Pin;
  GPIO_InitStruct.Mode = GPIO_MODE_OUTPUT_PP;
  GPIO_InitStruct.Pull = GPIO_NOPULL;
  GPIO_InitStruct.Speed = GPIO_SPEED_FREQ_LOW;
  HAL_GPIO_Init(GPIOG, &GPIO_InitStruct);

  /*Configure GPIO pins : ARDUINO_A4_Pin ARDUINO_A5_Pin ARDUINO_A1_Pin ARDUINO_A2_Pin
                           ARDUINO_A3_Pin */
  GPIO_InitStruct.Pin = ARDUINO_A4_Pin|ARDUINO_A5_Pin|ARDUINO_A1_Pin|ARDUINO_A2_Pin
                          |ARDUINO_A3_Pin;
  GPIO_InitStruct.Mode = GPIO_MODE_ANALOG;
  GPIO_InitStruct.Pull = GPIO_NOPULL;
  HAL_GPIO_Init(GPIOF, &GPIO_InitStruct);

  /*Configure GPIO pin : FMC_SDCKE0_Pin */
  GPIO_InitStruct.Pin = FMC_SDCKE0_Pin;
  GPIO_InitStruct.Mode = GPIO_MODE_AF_PP;
  GPIO_InitStruct.Pull = GPIO_NOPULL;
  GPIO_InitStruct.Speed = GPIO_SPEED_FREQ_VERY_HIGH;
  GPIO_InitStruct.Alternate = GPIO_AF12_FMC;
  HAL_GPIO_Init(FMC_SDCKE0_GPIO_Port, &GPIO_InitStruct);

  /*Configure GPIO pins : ULPI_STP_Pin ULPI_DIR_Pin */
  GPIO_InitStruct.Pin = ULPI_STP_Pin|ULPI_DIR_Pin;
  GPIO_InitStruct.Mode = GPIO_MODE_AF_PP;
  GPIO_InitStruct.Pull = GPIO_NOPULL;
  GPIO_InitStruct.Speed = GPIO_SPEED_FREQ_VERY_HIGH;
  GPIO_InitStruct.Alternate = GPIO_AF10_OTG_HS;
  HAL_GPIO_Init(GPIOC, &GPIO_InitStruct);

  /*Configure GPIO pins : RMII_MDC_Pin RMII_RXD0_Pin RMII_RXD1_Pin */
  GPIO_InitStruct.Pin = RMII_MDC_Pin|RMII_RXD0_Pin|RMII_RXD1_Pin;
  GPIO_InitStruct.Mode = GPIO_MODE_AF_PP;
  GPIO_InitStruct.Pull = GPIO_NOPULL;
  GPIO_InitStruct.Speed = GPIO_SPEED_FREQ_VERY_HIGH;
  GPIO_InitStruct.Alternate = GPIO_AF11_ETH;
  HAL_GPIO_Init(GPIOC, &GPIO_InitStruct);

  /*Configure GPIO pin : PB2 */
  GPIO_InitStruct.Pin = GPIO_PIN_2;
  GPIO_InitStruct.Mode = GPIO_MODE_AF_PP;
  GPIO_InitStruct.Pull = GPIO_NOPULL;
  GPIO_InitStruct.Speed = GPIO_SPEED_FREQ_VERY_HIGH;
  GPIO_InitStruct.Alternate = GPIO_AF9_QUADSPI;
  HAL_GPIO_Init(GPIOB, &GPIO_InitStruct);

  /*Configure GPIO pins : QSPI_D1_Pin QSPI_D3_Pin QSPI_D0_Pin */
  GPIO_InitStruct.Pin = QSPI_D1_Pin|QSPI_D3_Pin|QSPI_D0_Pin;
  GPIO_InitStruct.Mode = GPIO_MODE_AF_PP;
  GPIO_InitStruct.Pull = GPIO_NOPULL;
  GPIO_InitStruct.Speed = GPIO_SPEED_FREQ_VERY_HIGH;
  GPIO_InitStruct.Alternate = GPIO_AF9_QUADSPI;
  HAL_GPIO_Init(GPIOD, &GPIO_InitStruct);

  /*Configure GPIO pin : RMII_RXER_Pin */
  GPIO_InitStruct.Pin = RMII_RXER_Pin;
  GPIO_InitStruct.Mode = GPIO_MODE_INPUT;
  GPIO_InitStruct.Pull = GPIO_NOPULL;
  HAL_GPIO_Init(RMII_RXER_GPIO_Port, &GPIO_InitStruct);

  /*Configure GPIO pins : RMII_REF_CLK_Pin RMII_MDIO_Pin RMII_CRS_DV_Pin */
  GPIO_InitStruct.Pin = RMII_REF_CLK_Pin|RMII_MDIO_Pin|RMII_CRS_DV_Pin;
  GPIO_InitStruct.Mode = GPIO_MODE_AF_PP;
  GPIO_InitStruct.Pull = GPIO_NOPULL;
  GPIO_InitStruct.Speed = GPIO_SPEED_FREQ_VERY_HIGH;
  GPIO_InitStruct.Alternate = GPIO_AF11_ETH;
  HAL_GPIO_Init(GPIOA, &GPIO_InitStruct);

  /*Configure GPIO pin : ARDUINO_A0_Pin */
  GPIO_InitStruct.Pin = ARDUINO_A0_Pin;
  GPIO_InitStruct.Mode = GPIO_MODE_ANALOG;
  GPIO_InitStruct.Pull = GPIO_NOPULL;
  HAL_GPIO_Init(ARDUINO_A0_GPIO_Port, &GPIO_InitStruct);

  /*Configure GPIO pins : DCMI_HSYNC_Pin PA6 */
  GPIO_InitStruct.Pin = DCMI_HSYNC_Pin|GPIO_PIN_6;
  GPIO_InitStruct.Mode = GPIO_MODE_AF_PP;
  GPIO_InitStruct.Pull = GPIO_NOPULL;
  GPIO_InitStruct.Speed = GPIO_SPEED_FREQ_LOW;
  GPIO_InitStruct.Alternate = GPIO_AF13_DCMI;
  HAL_GPIO_Init(GPIOA, &GPIO_InitStruct);

  /*Configure GPIO pins : LCD_SCL_Pin LCD_SDA_Pin */
  GPIO_InitStruct.Pin = LCD_SCL_Pin|LCD_SDA_Pin;
  GPIO_InitStruct.Mode = GPIO_MODE_AF_OD;
  GPIO_InitStruct.Pull = GPIO_NOPULL;
  GPIO_InitStruct.Speed = GPIO_SPEED_FREQ_VERY_HIGH;
  GPIO_InitStruct.Alternate = GPIO_AF4_I2C3;
  HAL_GPIO_Init(GPIOH, &GPIO_InitStruct);

  /*Configure GPIO pins : ULPI_CLK_Pin ULPI_D0_Pin */
  GPIO_InitStruct.Pin = ULPI_CLK_Pin|ULPI_D0_Pin;
  GPIO_InitStruct.Mode = GPIO_MODE_AF_PP;
  GPIO_InitStruct.Pull = GPIO_NOPULL;
  GPIO_InitStruct.Speed = GPIO_SPEED_FREQ_VERY_HIGH;
  GPIO_InitStruct.Alternate = GPIO_AF10_OTG_HS;
  HAL_GPIO_Init(GPIOA, &GPIO_InitStruct);

  /*Configure GPIO pin : ARDUINO_PWM_D6_Pin */
  GPIO_InitStruct.Pin = ARDUINO_PWM_D6_Pin;
  GPIO_InitStruct.Mode = GPIO_MODE_AF_PP;
  GPIO_InitStruct.Pull = GPIO_NOPULL;
  GPIO_InitStruct.Speed = GPIO_SPEED_FREQ_LOW;
  GPIO_InitStruct.Alternate = GPIO_AF9_TIM12;
  HAL_GPIO_Init(ARDUINO_PWM_D6_GPIO_Port, &GPIO_InitStruct);

  /*Configure GPIO pins : ARDUINO_MISO_D12_Pin ARDUINO_MOSI_PWM_D11_Pin */
  GPIO_InitStruct.Pin = ARDUINO_MISO_D12_Pin|ARDUINO_MOSI_PWM_D11_Pin;
  GPIO_InitStruct.Mode = GPIO_MODE_AF_PP;
  GPIO_InitStruct.Pull = GPIO_NOPULL;
  GPIO_InitStruct.Speed = GPIO_SPEED_FREQ_LOW;
  GPIO_InitStruct.Alternate = GPIO_AF5_SPI2;
  HAL_GPIO_Init(GPIOB, &GPIO_InitStruct);

}

void Error_Handler(void)
{
  __disable_irq();
  while (1)
  {
  }
}
